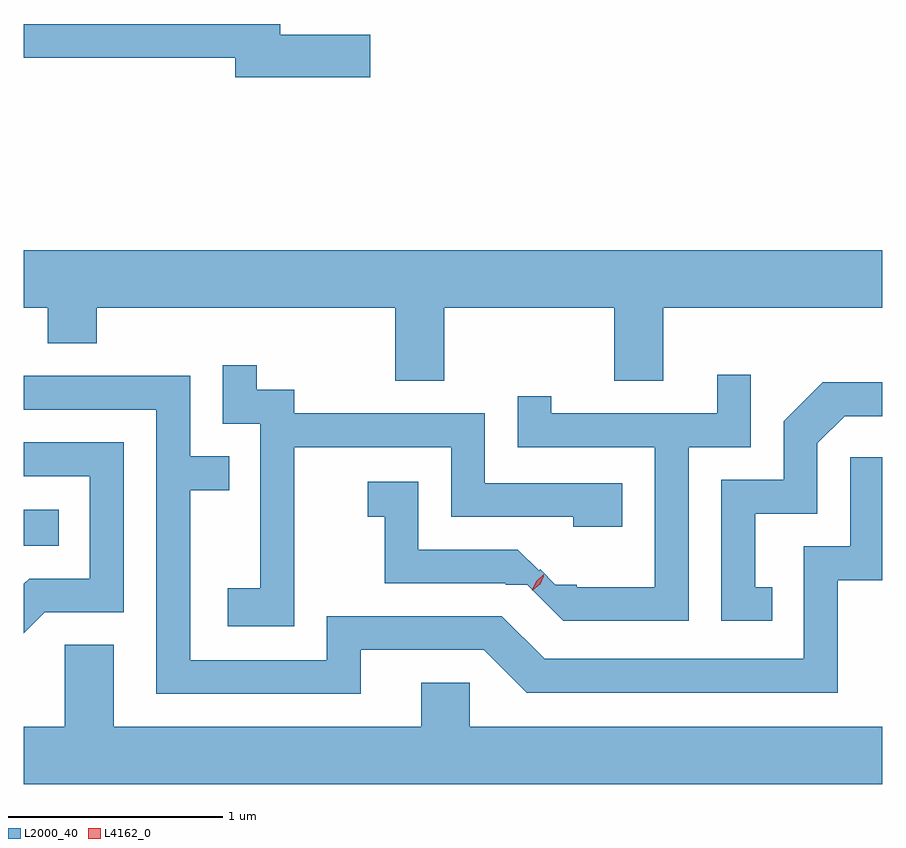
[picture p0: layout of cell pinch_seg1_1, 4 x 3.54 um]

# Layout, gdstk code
import gdstk
lib = gdstk.Library(unit=1e-6, precision=1e-09)
def R(c, l, rs):  # rectangles x0, y0, x1, y1
    for r in rs: c.add(gdstk.rectangle(r[:2], r[2:], *l))
def P(c, l, *ps):  # polygons
    for p in ps: c.add(gdstk.Polygon(p, *l))
L2000_40 = (2000, 40)
L4162_0 = (4162, 0)

pinch_seg1_1 = lib.new_cell('pinch_seg1_1')
R(pinch_seg1_1, L2000_40, [(1536.66,869.606,1536.823,869.774)])
P(pinch_seg1_1, L2000_40, [(1538.274,871.989),(1537.854,871.989),(1537.854,872.039),(1536.66,872.039),(1536.66,871.881),(1537.646,871.881),(1537.646,871.791),(1538.274,871.791)],
  [(1538.619,870.716),(1539.411,870.716),(1539.411,870.376),(1539.639,870.376),(1539.639,870.716),(1540.66,870.716),(1540.66,870.984),(1536.66,870.984),(1536.66,870.716),(1536.771,870.716),(1536.771,870.551),(1536.999,870.551),(1536.999,870.716),(1538.391,870.716),(1538.391,870.376),(1538.619,870.376)],
  [(1537.919,870.066),(1538.651,870.066),(1538.651,869.741),(1539.221,869.741),(1539.221,869.696),(1539.449,869.696),(1539.449,869.899),(1538.809,869.899),(1538.809,870.224),(1537.919,870.224),(1537.919,870.334),(1537.744,870.334),(1537.744,870.448),(1537.586,870.448),(1537.586,870.176),(1537.761,870.176),(1537.761,869.409),(1537.611,869.409),(1537.611,869.231),(1537.919,869.231)],
  [(1539.759,870.066),(1540.049,870.066),(1540.049,870.403),(1539.891,870.403),(1539.891,870.224),(1539.119,870.224),(1539.119,870.303),(1538.961,870.303),(1538.961,870.066),(1539.601,870.066),(1539.601,869.414),(1539.237,869.414),(1539.237,869.426),(1539.137,869.426),(1539.066,869.496),(1539.061,869.491),(1538.963,869.589),(1538.499,869.589),(1538.499,869.904),(1538.263,869.904),(1538.263,869.741),(1538.341,869.741),(1538.341,869.431),(1538.905,869.431),(1538.905,869.424),(1539.006,869.424),(1539.174,869.256),(1539.759,869.256)],
  [(1538.229,869.121),(1538.804,869.121),(1539.004,868.921),(1540.454,868.921),(1540.454,869.446),(1540.66,869.446),(1540.66,870.019),(1540.511,870.019),(1540.511,869.604),(1540.296,869.604),(1540.296,869.079),(1539.087,869.079),(1538.887,869.279),(1538.071,869.279),(1538.071,869.074),(1537.434,869.074),(1537.434,869.866),(1537.618,869.866),(1537.618,870.024),(1537.434,870.024),(1537.434,870.399),(1536.66,870.399),(1536.66,870.241),(1537.276,870.241),(1537.276,868.916),(1538.229,868.916)],
  [(1540.148,869.414),(1540.069,869.414),(1540.069,869.756),(1540.359,869.756),(1540.359,870.084),(1540.487,870.211),(1540.66,870.211),(1540.66,870.369),(1540.384,870.369),(1540.201,870.187),(1540.201,869.914),(1539.911,869.914),(1539.911,869.256),(1540.148,869.256)],
  [(1536.757,869.296),(1537.124,869.296),(1537.124,870.089),(1536.66,870.089),(1536.66,869.931),(1536.966,869.931),(1536.966,869.454),(1536.684,869.454),(1536.66,869.43),(1536.66,869.199)],
  [(1540.66,868.764),(1538.739,868.764),(1538.739,868.969),(1538.511,868.969),(1538.511,868.764),(1537.079,868.764),(1537.079,869.144),(1536.851,869.144),(1536.851,868.764),(1536.66,868.764),(1536.66,868.496),(1540.66,868.496)])
P(pinch_seg1_1, L4162_0, [(1539.028,869.399),(1539.028,869.399),(1539.048,869.442),(1539.082,869.473),(1539.083,869.473),(1539.083,869.472),(1539.064,869.43),(1539.029,869.399)],
  [(1539.033,869.402),(1539.033,869.403),(1539.05,869.44),(1539.083,869.465),(1539.083,869.465),(1539.083,869.464),(1539.066,869.427),(1539.034,869.402)])

lib.write_gds('pinch_seg1_1.gds')
